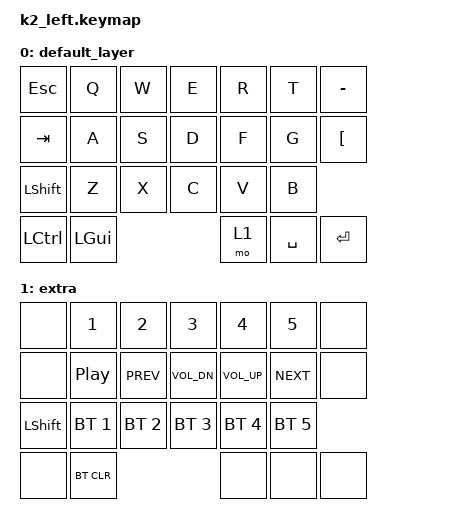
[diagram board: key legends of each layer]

/*
 * Copyright (c) 2021 Dan Stutman
 *
 * SPDX-License-Identifier: MIT
 */

#include <behaviors.dtsi>
#include <dt-bindings/zmk/keys.h>
#include <dt-bindings/zmk/bt.h>
#include <dt-bindings/zmk/backlight.h>

/ {
    keymap {
        compatible = "zmk,keymap";
        
        default_layer {
            bindings = <
                &kp ESC   &kp Q    &kp W &kp E &kp R  &kp T     &kp MINUS
                &kp TAB   &kp A    &kp S &kp D &kp F  &kp G     &kp LBKT
                &kp LSHFT &kp Z    &kp X &kp C &kp V  &kp B
                &kp LCTRL &kp LGUI             &mo 1  &kp SPACE &kp RET
            >;
        };

        extra {
            bindings = <
                &none     &kp N1       &kp N2       &kp N3       &kp N4       &kp N5       &none
                &none     &kp C_PP     &kp C_PREV   &kp C_VOL_DN &kp C_VOL_UP &kp C_NEXT   &none
                &kp LSHFT &bt BT_SEL 1 &bt BT_SEL 2 &bt BT_SEL 3 &bt BT_SEL 4 &bt BT_SEL 5
                &none     &bt BT_CLR                             &none        &none        &none
            >;
        };
    };
};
